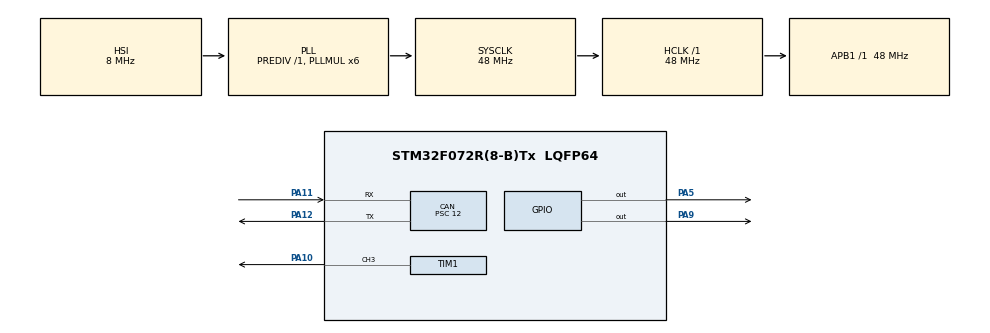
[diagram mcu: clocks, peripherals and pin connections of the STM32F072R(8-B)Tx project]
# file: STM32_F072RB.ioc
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CAN.BS1=CAN_BS1_8TQ
CAN.BS2=CAN_BS2_2TQ
CAN.CalculateBaudRate=363636
CAN.CalculateTimeBit=2750
CAN.CalculateTimeQuantum=250.0
CAN.Prescaler=12
Dma.Request0=TIM1_CH3/UP
Dma.TIM1_CH3/UP.0.Direction=DMA_PERIPH_TO_MEMORY
Dma.TIM1_CH3/UP.0.Instance=DMA1_Channel5
Dma.TIM1_CH3/UP.0.MemDataAlignment=DMA_MDATAALIGN_HALFWORD
Dma.TIM1_CH3/UP.0.MemInc=DMA_MINC_ENABLE
Dma.TIM1_CH3/UP.0.Mode=DMA_NORMAL
Dma.TIM1_CH3/UP.0.PeriphDataAlignment=DMA_PDATAALIGN_HALFWORD
Dma.TIM1_CH3/UP.0.PeriphInc=DMA_PINC_DISABLE
Dma.TIM1_CH3/UP.0.Priority=DMA_PRIORITY_LOW
Mcu.Family=STM32F0
Mcu.Name=STM32F072R(8-B)Tx
Mcu.Package=LQFP64
NVIC.CEC_CAN_IRQn=true\:0\:0\:false\:false\:true\:true\:true
NVIC.DMA1_Channel4_5_6_7_IRQn=true\:0\:0\:false\:false\:true\:false\:true
NVIC.TIM1_CC_IRQn=true\:0\:0\:false\:false\:true\:true\:true
PA10.Signal=S_TIM1_CH3
PA11.Mode=CAN_Activate
PA11.Signal=CAN_RX
PA12.Mode=CAN_Activate
PA12.Signal=CAN_TX
PA5.GPIO_PuPd=GPIO_PULLUP
PA5.Signal=GPIO_Output
PA9.GPIO_PuPd=GPIO_PULLUP
PA9.Signal=GPIO_Output
PF0-OSC_IN.Mode=HSE-External-Oscillator
PF0-OSC_IN.Signal=RCC_OSC_IN
PF1-OSC_OUT.Mode=HSE-External-Oscillator
PF1-OSC_OUT.Signal=RCC_OSC_OUT
ProjectManager.HeapSize=0x200
ProjectManager.StackSize=0x400
ProjectManager.TargetToolchain=STM32CubeIDE
RCC.AHBFreq_Value=48000000
RCC.APB1Freq_Value=48000000
RCC.APB1TimFreq_Value=48000000
RCC.HCLKFreq_Value=48000000
RCC.HSE_VALUE=32000000
RCC.PLLMUL=RCC_PLL_MUL6
RCC.SYSCLKFreq_VALUE=48000000
RCC.SYSCLKSource=RCC_SYSCLKSOURCE_PLLCLK
SH.S_TIM1_CH3.0=TIM1_CH3,PWM Generation3 CH3
TIM1.AutoReloadPreload=TIM_AUTORELOAD_PRELOAD_ENABLE
TIM1.Channel-PWM\ Generation3\ CH3=TIM_CHANNEL_3
TIM1.OCMode_PWM-PWM\ Generation3\ CH3=TIM_OCMODE_PWM1
TIM1.Period=10000-1
TIM1.Prescaler=4800-1
TIM1.Pulse-PWM\ Generation3\ CH3=10
VP_TIM1_VS_ClockSourceINT.Mode=Internal
board=custom

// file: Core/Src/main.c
/* USER CODE BEGIN Header */
/**
  ******************************************************************************
  * @file           : main.c
  * @brief          : Main program body
  ******************************************************************************
  * @attention
  *
  * <h2><center>&copy; Copyright (c) 2021 STMicroelectronics.
  * All rights reserved.</center></h2>
  *
  * This software component is licensed by ST under BSD 3-Clause license,
  * the "License"; You may not use this file except in compliance with the
  * License. You may obtain a copy of the License at:
  *                        opensource.org/licenses/BSD-3-Clause
  *
  ******************************************************************************
  */
/* USER CODE END Header */
#include "main.h"

/* USER CODE BEGIN Includes */
#include <stdio.h>
#include "stm32f0xx_it.h" /*!< Fonctions d'interruption */
#include "motor.h" /*!< Fonctions des moteurs */
#include "can.h" /*!< Fonctions du bus CAN */

/* USER CODE END Includes */

CAN_HandleTypeDef hcan;  /*!< Variable du bus CAN */
TIM_HandleTypeDef htim1; /*!< Variable du Timer 1 */
DMA_HandleTypeDef hdma_tim1_ch3_up;  /*!< Timer 1 Channel 3 en mode DMA */

/* USER CODE BEGIN PV */
int target = -1; /*!< Nombre de pas à effectuer, initialiser à -1 pour ne pas faire de pas */
int repetitions = 1; /*!< Compte le nombre de pas effectué, jusqu'à atteindre target */

/*!< Variable du bus CAN */
CAN_TxHeaderTypeDef TxHeader;
CAN_RxHeaderTypeDef RxHeader;
uint8_t TxData[8];
uint8_t RxData[8];
uint32_t TxMailbox;

/* USER CODE END PV */

void SystemClock_Config(void);
static void MX_GPIO_Init(void);
static void MX_CAN_Init(void);
static void MX_DMA_Init(void);
static void MX_TIM1_Init(void);
/* USER CODE BEGIN PFP */
void HAL_CAN_RxFifo0MsgPendingCallback(CAN_HandleTypeDef *hcan); /*!< Fonction interruption bus CAN */
void HAL_TIM_OC_DelayElapsedCallback(TIM_HandleTypeDef *htim); /*!< Fonction interruption pour les timers */

/* USER CODE END PFP */

/* USER CODE BEGIN 0 */

/**
 * @brief Fonction interruption bus CAN
 * quand la STM reçoit un message
 * le message est composé des instructions pour les moteurs
 * @param RxData[0] marche/arrêt (00 ou 01)
 * @param RxData[1] direction (00 ou 01)
 * @param RxData[2] vitesse (FF lent à 05 rapide, au-delà peut poser des problèmes)
 * @param RxData[3] nombre de pas à effectuer
 *
 */
void HAL_CAN_RxFifo0MsgPendingCallback(CAN_HandleTypeDef *hcan) {
	/*!< HAL_CAN_GetRxMessage(hcan, CAN_RX_FIFO0, &RxHeader, RxData); */
	/*!< Traitement des données */
	uint8_t RxData[8];
	/*!< Réception du message */
	HAL_CAN_GetRxMessage(hcan, CAN_RX_FIFO0, &RxHeader, RxData);

	send_one(0x324, 00); /*!< Envoie 00 pour accuser réception */

	repetitions = 1; /*!< Initialisation de repetition */
	motorStop(RxData[0]); /*!< Définie si le moteur est à l'arrêt ou non */
	motorDirection(RxData[1]); /*!< Définie la direction du moteur */
	motorStep(RxData[2]); /*!< Définie la vitesse du moteur */
	target = RxData[3]; /*!< Nombre de pas à effectuer */
	__HAL_TIM_SET_COUNTER(&htim1, 0); /*!< Initialise le compteur du Timer 1 à 0 */

}

/* USER CODE END 0 */

int main(void)
{

  /* MCU Configuration--------------------------------------------------------*/

  /* Reset of all peripherals, Initializes the Flash interface and the Systick. */
  HAL_Init();

  /* Configure the system clock */
  SystemClock_Config();

  /* Initialize all configured peripherals */
  MX_GPIO_Init();
  MX_CAN_Init();
  MX_DMA_Init();
  MX_TIM1_Init();
  /* USER CODE BEGIN 2 */
  CAN_Config(hcan, 0x325); /*!< Configue l'adressse du bus CAN */

  /*
   * @brief initialisation du timer
   * Active le moteur pour effectuer 2 pas
   * Apres réinitialisation de la carte, les premiers pas ne sont font pas bien
   * donc on les fait maintenant pour éviter que cela se fasse lors de la première instruction envoyée
   */
  motorStop(1);
  motorStep(0xFF);
  target=2;
  HAL_Delay(2000);
  motorStop(0);
  target=-1;

  /* USER CODE END 2 */

  /* Infinite loop */
    while (1)
      {

    }
}

void SystemClock_Config(void)
{
  RCC_OscInitTypeDef RCC_OscInitStruct = {0};
  RCC_ClkInitTypeDef RCC_ClkInitStruct = {0};

  /** Initializes the RCC Oscillators according to the specified parameters
  * in the RCC_OscInitTypeDef structure.
  */
  RCC_OscInitStruct.OscillatorType = RCC_OSCILLATORTYPE_HSI;
  RCC_OscInitStruct.HSIState = RCC_HSI_ON;
  RCC_OscInitStruct.HSICalibrationValue = RCC_HSICALIBRATION_DEFAULT;
  RCC_OscInitStruct.PLL.PLLState = RCC_PLL_ON;
  RCC_OscInitStruct.PLL.PLLSource = RCC_PLLSOURCE_HSI;
  RCC_OscInitStruct.PLL.PLLMUL = RCC_PLL_MUL6;
  RCC_OscInitStruct.PLL.PREDIV = RCC_PREDIV_DIV1;
  if (HAL_RCC_OscConfig(&RCC_OscInitStruct) != HAL_OK)
  {
    Error_Handler();
  }
  /** Initializes the CPU, AHB and APB buses clocks
  */
  RCC_ClkInitStruct.ClockType = RCC_CLOCKTYPE_HCLK|RCC_CLOCKTYPE_SYSCLK
                              |RCC_CLOCKTYPE_PCLK1;
  RCC_ClkInitStruct.SYSCLKSource = RCC_SYSCLKSOURCE_PLLCLK;
  RCC_ClkInitStruct.AHBCLKDivider = RCC_SYSCLK_DIV1;
  RCC_ClkInitStruct.APB1CLKDivider = RCC_HCLK_DIV1;

  if (HAL_RCC_ClockConfig(&RCC_ClkInitStruct, FLASH_LATENCY_1) != HAL_OK)
  {
    Error_Handler();
  }
}

static void MX_CAN_Init(void)
{

  hcan.Instance = CAN;
  hcan.Init.Prescaler = 12;
  hcan.Init.Mode = CAN_MODE_NORMAL;
  hcan.Init.SyncJumpWidth = CAN_SJW_1TQ;
  hcan.Init.TimeSeg1 = CAN_BS1_8TQ;
  hcan.Init.TimeSeg2 = CAN_BS2_2TQ;
  hcan.Init.TimeTriggeredMode = DISABLE;
  hcan.Init.AutoBusOff = DISABLE;
  hcan.Init.AutoWakeUp = DISABLE;
  hcan.Init.AutoRetransmission = DISABLE;
  hcan.Init.ReceiveFifoLocked = DISABLE;
  hcan.Init.TransmitFifoPriority = DISABLE;
  if (HAL_CAN_Init(&hcan) != HAL_OK)
  {
    Error_Handler();
  }

}

static void MX_TIM1_Init(void)
{

  TIM_ClockConfigTypeDef sClockSourceConfig = {0};
  TIM_MasterConfigTypeDef sMasterConfig = {0};
  TIM_OC_InitTypeDef sConfigOC = {0};
  TIM_BreakDeadTimeConfigTypeDef sBreakDeadTimeConfig = {0};

  htim1.Instance = TIM1;
  htim1.Init.Prescaler = 4800-1;
  htim1.Init.CounterMode = TIM_COUNTERMODE_UP;
  htim1.Init.Period = 10000-1;
  htim1.Init.ClockDivision = TIM_CLOCKDIVISION_DIV1;
  htim1.Init.RepetitionCounter = 0;
  htim1.Init.AutoReloadPreload = TIM_AUTORELOAD_PRELOAD_ENABLE;
  if (HAL_TIM_Base_Init(&htim1) != HAL_OK)
  {
    Error_Handler();
  }
  sClockSourceConfig.ClockSource = TIM_CLOCKSOURCE_INTERNAL;
  if (HAL_TIM_ConfigClockSource(&htim1, &sClockSourceConfig) != HAL_OK)
  {
    Error_Handler();
  }
  if (HAL_TIM_PWM_Init(&htim1) != HAL_OK)
  {
    Error_Handler();
  }
  sMasterConfig.MasterOutputTrigger = TIM_TRGO_RESET;
  sMasterConfig.MasterSlaveMode = TIM_MASTERSLAVEMODE_DISABLE;
  if (HAL_TIMEx_MasterConfigSynchronization(&htim1, &sMasterConfig) != HAL_OK)
  {
    Error_Handler();
  }
  sConfigOC.OCMode = TIM_OCMODE_PWM1;
  sConfigOC.Pulse = 10;
  sConfigOC.OCPolarity = TIM_OCPOLARITY_HIGH;
  sConfigOC.OCNPolarity = TIM_OCNPOLARITY_HIGH;
  sConfigOC.OCFastMode = TIM_OCFAST_DISABLE;
  sConfigOC.OCIdleState = TIM_OCIDLESTATE_RESET;
  sConfigOC.OCNIdleState = TIM_OCNIDLESTATE_RESET;
  if (HAL_TIM_PWM_ConfigChannel(&htim1, &sConfigOC, TIM_CHANNEL_3) != HAL_OK)
  {
    Error_Handler();
  }
  sBreakDeadTimeConfig.OffStateRunMode = TIM_OSSR_DISABLE;
  sBreakDeadTimeConfig.OffStateIDLEMode = TIM_OSSI_DISABLE;
  sBreakDeadTimeConfig.LockLevel = TIM_LOCKLEVEL_OFF;
  sBreakDeadTimeConfig.DeadTime = 0;
  sBreakDeadTimeConfig.BreakState = TIM_BREAK_DISABLE;
  sBreakDeadTimeConfig.BreakPolarity = TIM_BREAKPOLARITY_HIGH;
  sBreakDeadTimeConfig.AutomaticOutput = TIM_AUTOMATICOUTPUT_DISABLE;
  if (HAL_TIMEx_ConfigBreakDeadTime(&htim1, &sBreakDeadTimeConfig) != HAL_OK)
  {
    Error_Handler();
  }
  HAL_TIM_MspPostInit(&htim1);

}

static void MX_DMA_Init(void)
{

  /* DMA controller clock enable */
  __HAL_RCC_DMA1_CLK_ENABLE();

  /* DMA interrupt init */
  /* DMA1_Channel4_5_6_7_IRQn interrupt configuration */
  HAL_NVIC_SetPriority(DMA1_Channel4_5_6_7_IRQn, 0, 0);
  HAL_NVIC_EnableIRQ(DMA1_Channel4_5_6_7_IRQn);

}

static void MX_GPIO_Init(void)
{
  GPIO_InitTypeDef GPIO_InitStruct = {0};

  /* GPIO Ports Clock Enable */
  __HAL_RCC_GPIOF_CLK_ENABLE();
  __HAL_RCC_GPIOA_CLK_ENABLE();

  /*Configure GPIO pin Output Level */
  HAL_GPIO_WritePin(GPIOA, GPIO_PIN_5|GPIO_PIN_9, GPIO_PIN_RESET);

  /*Configure GPIO pins : PA5 PA9 */
  GPIO_InitStruct.Pin = GPIO_PIN_5|GPIO_PIN_9;
  GPIO_InitStruct.Mode = GPIO_MODE_OUTPUT_PP;
  GPIO_InitStruct.Pull = GPIO_PULLUP;
  GPIO_InitStruct.Speed = GPIO_SPEED_FREQ_LOW;
  HAL_GPIO_Init(GPIOA, &GPIO_InitStruct);

}

void Error_Handler(void)
{
  __disable_irq();
  while (1)
  {
  }
}
